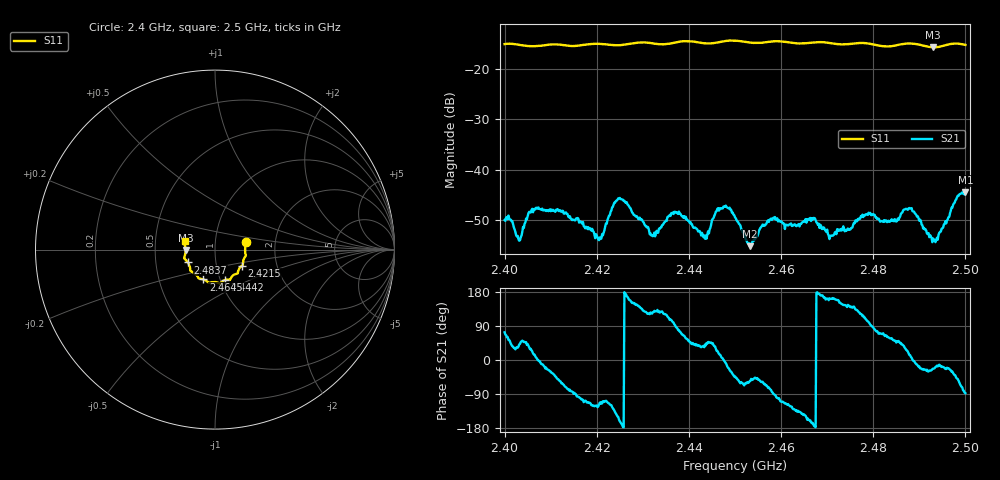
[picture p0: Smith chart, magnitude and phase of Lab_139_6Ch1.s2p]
# Hz S RI R 50
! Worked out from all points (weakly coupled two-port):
!   601 points, 2.4 GHz to 2.5 GHz, reference 50 ohm
!   highest |S21| = -44.45 dB at 2.5 GHz (marker M1); lowest = -55.1 dB at 2.4532 GHz (marker M2)
!   lowest |S11| = -15.7 dB at 2.493 GHz (marker M3), VSWR 1.39, Z = 36 - j0.22 ohm
!   |S11| at or under -10 dB: start of sweep to end of sweep
!   S12 and S22 are empty: the file has one direction only
!   S11 on the Smith chart (normalised r, x): 2.4 GHz: 1.41, +0.12; 2.4215 GHz: 1.33, -0.25; 2.4442 GHz: 1.05, -0.37; 2.4645 GHz: 0.83, -0.29; 2.4837 GHz: 0.73, -0.11; 2.5 GHz: 0.71, +0.07
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2.4e9  0.1713 0.0399  0.000925 0.00304  0 0  0 0
2.403167e9  0.1712 0.0261  0.0015 0.0013  0 0  0 0
2.406833e9  0.1679 -0.0106  0.00418 0.000469  0 0  0 0
2.416667e9  0.1567 -0.0698  -0.000735 -0.0029  0 0  0 0
2.4215e9  0.1509 -0.0898  -0.000844 -0.00223  0 0  0 0
2.425e9  0.1342 -0.1072  -0.005 -0.00164  0 0  0 0
2.433333e9  0.1083 -0.1384  -0.00142 0.00191  0 0  0 0
2.437333e9  0.0875 -0.1614  0.0003 0.00379  0 0  0 0
2.444167e9  0.0565 -0.1693  0.00167 0.00182  0 0  0 0
2.4465e9  0.0376 -0.1798  0.00378 0.00112  0 0  0 0
2.45e9  0.0252 -0.189  0.00247 -0.00232  0 0  0 0
2.453167e9  0.00895 -0.1823  0.000977 -0.00145  0 0  0 0
2.458167e9  -0.0292 -0.1847  0.000219 -0.00328  0 0  0 0
2.4645e9  -0.0658 -0.1661  -0.00236 -0.00182  0 0  0 0
2.466667e9  -0.0826 -0.1621  -0.00322 -0.000758  0 0  0 0
2.470833e9  -0.0958 -0.152  -0.00209 0.00071  0 0  0 0
2.478833e9  -0.1384 -0.1127  -0.000737 0.0035  0 0  0 0
2.483333e9  -0.149 -0.0751  0.00159 0.00269  0 0  0 0
2.483667e9  -0.151 -0.0716  0.00168 0.00258  0 0  0 0
2.488167e9  -0.1716 -0.0476  0.00411 0.000607  0 0  0 0
2.493e9  -0.1634 -0.00297  0.00192 -0.000806  0 0  0 0
2.5e9  -0.1652 0.0504  0.000249 -0.00599  0 0  0 0
